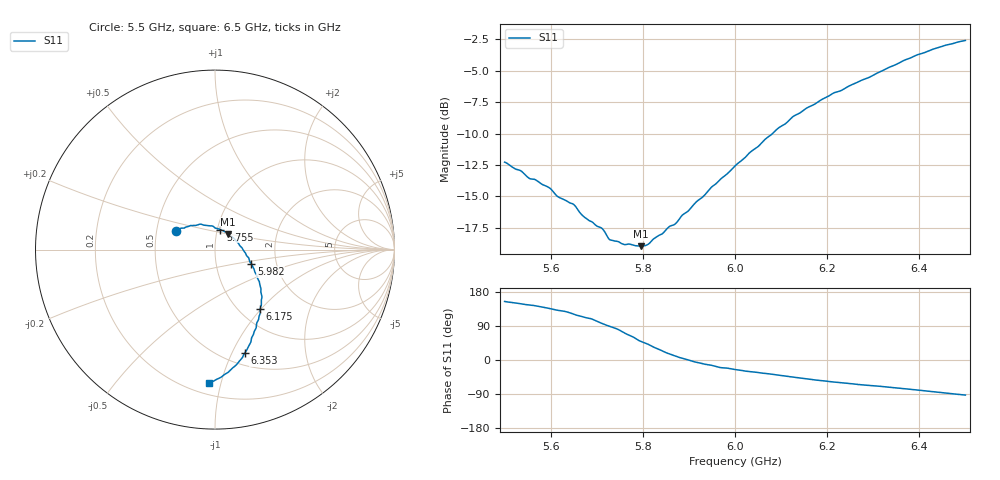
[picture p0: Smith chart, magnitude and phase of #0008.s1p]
#  HZ  S  DB  R  50.00
! Rohde & Schwarz ZVA24 4Ports - Version 3.60 - 1145.1110k28 SN: 101513
! Date: 2019-08-26 13:23:20
! Measurement: S33
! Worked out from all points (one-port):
!   801 points, 5.5 GHz to 6.5 GHz, reference 50 ohm
!   lowest |S11| = -19.0 dB at 5.796 GHz (marker M1), VSWR 1.25, Z = 57.1 + j9.8 ohm
!   |S11| at or under -10 dB: start of sweep to 6.081 GHz
!   S11 on the Smith chart (normalised r, x): 5.5 GHz: 0.63, +0.14; 5.755 GHz: 1.04, +0.23; 5.982 GHz: 1.49, -0.25; 6.175 GHz: 1.23, -0.99; 6.353 GHz: 0.62, -1.12; 6.5 GHz: 0.28, -0.92
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5.5e9  -12.28 154.5
5.535e9  -12.96 148.2
5.5525e9  -13.54 145.4
5.595e9  -14.28 136.6
5.61375e9  -14.98 131.5
5.625e9  -15.19 129.4
5.65e9  -15.65 120.8
5.67125e9  -16.60 113.4
5.71125e9  -17.56 96.6
5.72875e9  -18.47 88.7
5.75e9  -18.68 78.3
5.755e9  -18.78 74.8
5.79625e9  -18.97 48.8
5.81125e9  -18.83 41.6
5.875e9  -17.02 8.5
5.94875e9  -14.27 -13.9
5.9825e9  -13.23 -21.3
6e9  -12.58 -25.1
6.07375e9  -10.22 -36.5
6.125e9  -8.67 -44.9
6.175e9  -7.61 -52.9
6.19e9  -7.25 -54.5
6.25e9  -6.16 -62.2
6.31125e9  -5.13 -69.0
6.3525e9  -4.44 -74.0
6.375e9  -4.05 -76.6
6.45375e9  -2.99 -86.9
6.5e9  -2.58 -92.5
